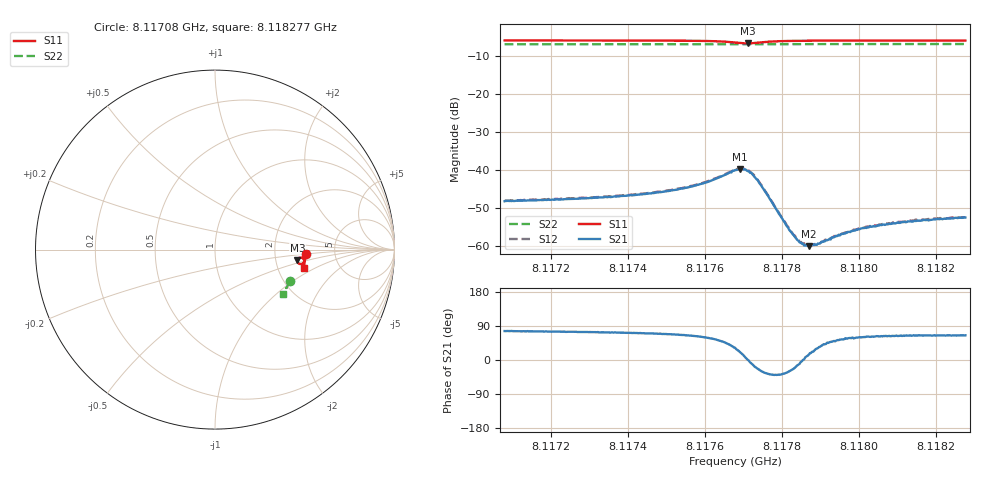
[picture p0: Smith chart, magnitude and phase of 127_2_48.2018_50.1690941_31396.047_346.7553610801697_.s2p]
#  HZ  S  RI  R  50.00
! Rohde & Schwarz Vector Network Analyzer
! Rohde-Schwarz,ZNB20-2Port,1311601062101988,3.16
! Created: UTC 3/20/2024, 11:41:45 AM
! freq[Hz]  re:S11  im:S11  re:S21  im:S21  re:S12  im:S12  re:S22  im:S22
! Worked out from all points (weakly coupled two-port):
!   401 points, 8.11708 GHz to 8.118277 GHz, reference 50 ohm
!   highest |S21| = -39.77 dB at 8.11769 GHz (marker M1); lowest = -60.0 dB at 8.11787 GHz (marker M2)
!   lowest |S11| = -6.7 dB at 8.117711 GHz (marker M3), VSWR 2.72, Z = 133 - j20 ohm
!   |S11| at or under -10 dB: nowhere
!   |S22| runs from -6.9 to -6.9 dB; largest |S21 - S12| = 0.00036
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8.1170799e9  0.5055 -0.0232  0.000919 0.00379  0.000985 0.00387  0.4156 -0.175
8.1172803e9  0.5038 -0.0397  0.00119 0.00408  0.00126 0.00414  0.4105 -0.1879
8.117397e9  0.5024 -0.05  0.00145 0.00438  0.00152 0.00444  0.4073 -0.1953
8.1174808e9  0.5006 -0.058  0.0018 0.00479  0.00186 0.00488  0.405 -0.2009
8.1175436e9  0.498 -0.0653  0.00235 0.00525  0.00243 0.00534  0.403 -0.205
8.1175975e9  0.4935 -0.0727  0.00336 0.00584  0.00347 0.00596  0.4012 -0.2084
8.1176782e9  0.469 -0.079  0.00845 0.00534  0.00864 0.00512  0.3977 -0.2133
8.1176902e9  0.4629 -0.0743  0.00953 0.00381  0.00975 0.00382  0.3972 -0.2138
8.1177111e9  0.4588 -0.0594  0.00972 0.000104  0.01 6.12e-06  0.3965 -0.2142
8.1177261e9  0.4643 -0.0491  0.00824 -0.00205  0.00847 -0.00223  0.3966 -0.2148
8.1177411e9  0.4731 -0.0446  0.00612 -0.00292  0.0062 -0.00311  0.3966 -0.2155
8.1178158e9  0.4954 -0.0564  0.0015 -0.000925  0.00154 -0.000945  0.3951 -0.2207
8.1178338e9  0.4967 -0.0596  0.00124 -0.000462  0.00129 -0.000475  0.3947 -0.222
8.1178517e9  0.4975 -0.0626  0.00108 -6.31e-05  0.0011 -6.22e-05  0.3941 -0.2231
8.1178697e9  0.498 -0.0653  0.00097 0.000244  0.000996 0.000216  0.3935 -0.2244
8.1178787e9  0.4982 -0.0666  0.000961 0.000387  0.000966 0.000379  0.3932 -0.2251
8.1178936e9  0.4982 -0.0685  0.000922 0.000566  0.000921 0.000551  0.3927 -0.2259
8.1179415e9  0.4985 -0.0742  0.000844 0.00106  0.000871 0.00107  0.3912 -0.2291
8.1179924e9  0.4982 -0.0794  0.000844 0.00139  0.000868 0.00143  0.3895 -0.232
8.1180791e9  0.4972 -0.0874  0.000877 0.00176  0.000921 0.00178  0.3866 -0.2376
8.1181509e9  0.4961 -0.0936  0.000944 0.00194  0.000957 0.00198  0.384 -0.2421
8.1182766e9  0.4943 -0.1036  0.001 0.00216  0.001 0.00218  0.3796 -0.2497
